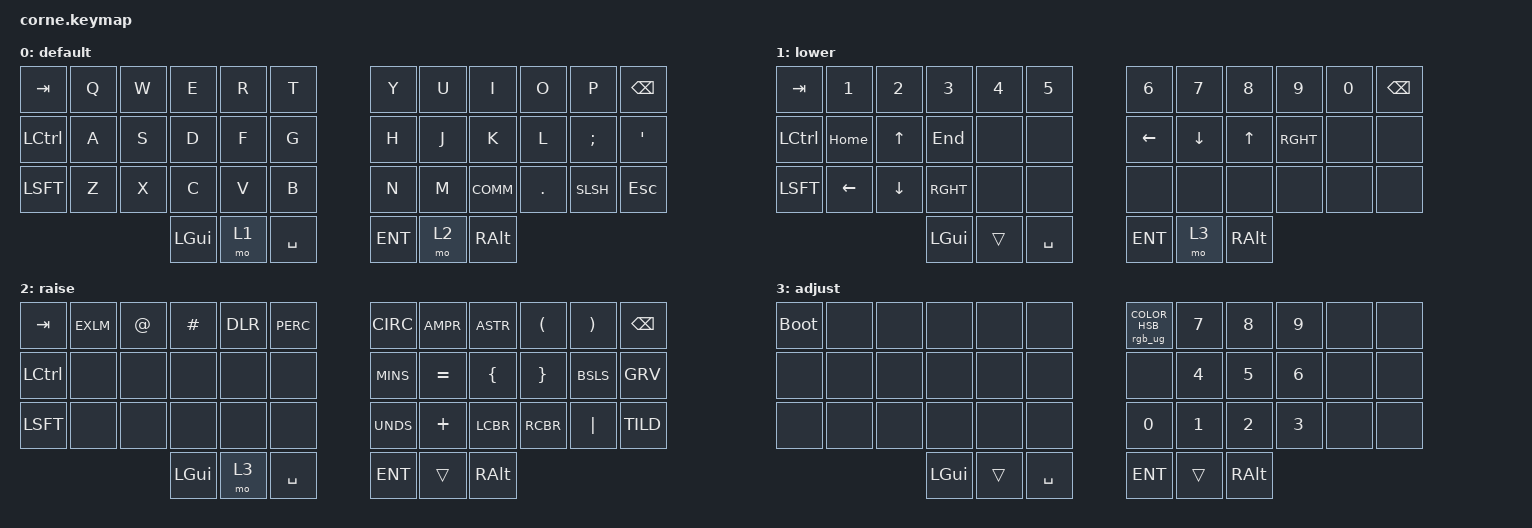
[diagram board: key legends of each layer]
/ {
    keymap {
        compatible = "zmk,keymap";

        default {
            bindings = <
                &kp TAB   &kp Q    &kp W    &kp E    &kp R    &kp T    &kp Y    &kp U    &kp I    &kp O    &kp P    &kp BSPC
                &kp LCTL  &kp A    &kp S    &kp D    &kp F    &kp G    &kp H    &kp J    &kp K    &kp L    &kp SCLN &kp QUOT
                &kp LSFT  &kp Z    &kp X    &kp C    &kp V    &kp B    &kp N    &kp M    &kp COMM &kp DOT &kp SLSH &kp ESC
                &kp LGUI  &mo 1    &kp SPC  &kp ENT  &mo 2    &kp RALT
            >;
        };

        lower {
            bindings = <
                &kp TAB   &kp 1    &kp 2    &kp 3    &kp 4    &kp 5    &kp 6    &kp 7    &kp 8    &kp 9    &kp 0    &kp BSPC
                &kp LCTL  &kp HOME &kp UP   &kp END  &none   &none   &kp LEFT &kp DOWN &kp UP   &kp RGHT &none    &none
                &kp LSFT  &kp LEFT &kp DOWN &kp RGHT &none   &none   &none    &none    &none    &none    &none    &none
                &kp LGUI  &trans   &kp SPC  &kp ENT  &mo 3   &kp RALT
            >;
        };

        raise {
            bindings = <
                &kp TAB   &kp EXLM &kp AT   &kp HASH &kp DLR  &kp PERC &kp CIRC &kp AMPR &kp ASTR &kp LPRN &kp RPRN &kp BSPC
                &kp LCTL  &none    &none    &none    &none    &none    &kp MINS &kp EQL  &kp LBRC &kp RBRC &kp BSLS &kp GRV
                &kp LSFT  &none    &none    &none    &none    &none    &kp UNDS &kp PLUS &kp LCBR &kp RCBR &kp PIPE &kp TILD
                &kp LGUI  &mo 3    &kp SPC  &kp ENT  &trans   &kp RALT
            >;
        };

        adjust {
            bindings = <
                &bootloader &none    &none    &none    &none    &none    &rgb_ug RGB_COLOR_HSB(60,100,100) &kp 7    &kp 8    &kp 9    &none    &none
                &none       &none    &none    &none    &none    &none    &none    &kp 4    &kp 5    &kp 6    &none    &none
                &none       &none    &none    &none    &none    &none    &kp 0    &kp 1    &kp 2    &kp 3    &none    &none
                &kp LGUI    &trans   &kp SPC  &kp ENT  &trans   &kp RALT
            >;
        };
    };
};
